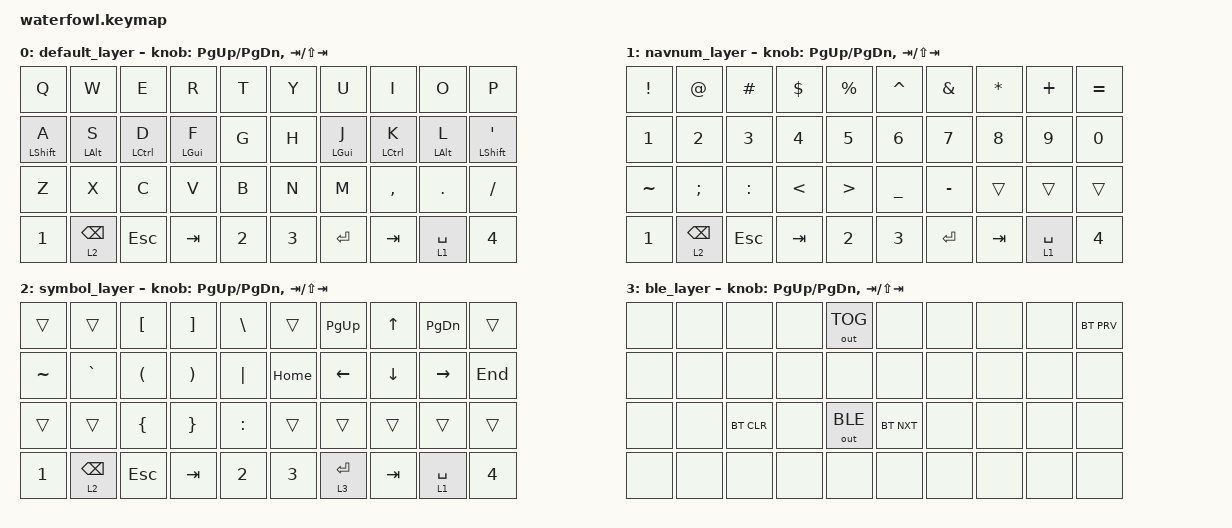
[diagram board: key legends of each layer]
/*
 * Copyright (c) 2022 The ZMK Contributors
 *
 * SPDX-License-Identifier: MIT
 */

#include <behaviors.dtsi>
#include <dt-bindings/zmk/keys.h>
#include <dt-bindings/zmk/bt.h>
#include <dt-bindings/zmk/outputs.h>


#define TAPPING_TERM 150
#define QUICK_TAP    100

&mt {
	flavor = "tap-preferred";
	tapping-term-ms = <TAPPING_TERM>;
	quick-tap-ms = <QUICK_TAP>;
	global-quick-tap;
};

/ {
	keymap {
		compatible = "zmk,keymap";

		default_layer {
/* QWERTY
 *
 * ,----------------------------------.                      ,----------------------------------.
 * |   Q  |   W  |   E  |   R  |   T  |                      |   Y  |   U  |   I  |   O  |   P  |
 * |------+------+------+------+------|                      |------+------+------+------+------|
 * |   A  |   S  |   D  |   F  |   G  |                      |   H  |   J  |   K  |   L  |   ;  |
 * |------+------+------+------+------|  ,-----.    ,-----.  |------+------+------+------+------|
 * |   Z  |   X  |   C  |   V  |   B  |  |  2  |    |  3  |  |   N  |   M  |   ,  |   .  |   /  |
 * `----------------------------------'  `-----'    `-----'  `----------------------------------'
 *          ,-----.   ,--------------------.            ,--------------------.   ,-----. 
 *          |  1  |   | DEL | SPACE | TAB  |            |  ESC  | BS | ENTER |   |  4  |	
 *          `-----'   `--------------------'            `--------------------'   `-----'
 */
			bindings = <
	&kp Q		&kp W		&kp E		&kp R		&kp T			&kp Y	&kp U		&kp I		&kp O		&kp P
	&mt LSHFT A	&mt LALT S	&mt LCTRL D	&mt LGUI F	&kp G			&kp H	&mt LGUI J	&mt LCTRL K	&mt LALT L	&mt LSHFT APOS
	&kp Z		&kp X		&kp C		&kp V		&kp B			&kp N	&kp M		&kp COMMA	&kp DOT		&kp FSLH
	&kp N1		&lt 2 BSPC	&kp ESC		&kp TAB		&kp N2			&kp N3	&kp RET		&kp TAB 	&lt 1 SPACE	&kp N4
			>;

			sensor-bindings = <&inc_dec_kp PAGE_UP PAGE_DOWN &inc_dec_kp TAB LS(TAB)>;
		};

		navnum_layer {
/* NAVNUM
 *
 * ,----------------------------------.                      ,----------------------------------.
 * |      | PgUp |  UP  | PgDn |      |                      |   /  |   7  |   8  |   9  |   -  |
 * |------+------+------+------+------|                      |------+------+------+------+------|
 * | Home | Left | Down | Right| End  |                      |   =  |   4  |   5  |   6  |   +  |
 * |------+------+------+------+------|  ,-----.    ,-----.  |------+------+------+------+------|
 * |      |      |  INS |      |      |  |  2  |    |  3  |  |   0  |   1  |   2  |   3  |   *  |
 * `----------------------------------'  `-----'    `-----'  `----------------------------------'
 *          ,-----.   ,--------------------.            ,--------------------.   ,-----. 
 *          |  1  |   | DEL | SPACE | MO(3)|            |  ESC  | BS | ENTER |   |  4  |
 *          `-----'   `--------------------'            `--------------------'   `-----'
 */
			bindings = <
	&kp EXCL	&kp AT		&kp HASH	&kp DLLR	&kp PRCNT				&kp CARET 	&kp AMPS 	&kp STAR	&kp PLUS	&kp EQUAL
	&kp N1	 	&kp N2		&kp N3		&kp N4		&kp N5					&kp N6		&kp N7		&kp N8		&kp N9		&kp N0
	&kp TILDE	&kp SEMI	&kp COLON	&kp LT		&kp GT					&kp UNDER	&kp MINUS	&trans		&trans		&trans
	&kp N1		&lt 2 BSPC	&kp ESC		&kp TAB		&kp N2			&kp N3	&kp RET		&kp TAB 	&lt 1 SPACE	&kp N4
			>;

			sensor-bindings = <&inc_dec_kp PAGE_UP PAGE_DOWN &inc_dec_kp TAB LS(TAB)>;
		};

		symbol_layer {
/* SYM
 *
 * ,----------------------------------.                      ,----------------------------------.
 * |   %  |   @  |   [  |   ]  |   \  |                      |      |      |   ^  |      |      |
 * |------+------+------+------+------|                      |------+------+------+------+------|
 * |   #  |   !  |   (  |   )  |   |  |                      |   _  |   '  |   "  |   ~  |   `  |
 * |------+------+------+------+------|  ,-----.    ,-----.  |------+------+------+------+------|
 * |   $  |      |   {  |   }  |   &  |  |  2  |    |  3  |  |      |      |      |      |      |
 * `----------------------------------'  `-----'    `-----'  `----------------------------------'
 *          ,-----.   ,--------------------.            ,--------------------.   ,-----. 
 *          |  1  |   | DEL | SPACE | TAB  |            |  ESC  | BS | ENTER |   |  4  |
 *          `-----'   `--------------------'            `--------------------'   `-----'
 */
			bindings = <
	&trans		&trans		&kp LBKT	&kp RBKT	&kp BSLH				&trans			&kp PG_UP		&kp UP		&kp PG_DN		&trans
	&kp TILDE	&kp GRAVE	&kp LPAR	&kp RPAR	&kp PIPE				&kp HOME		&kp LEFT		&kp DOWN	&kp RIGHT		&kp END
	&trans		&trans		&kp LBRC	&kp RBRC	&kp COLON				&trans			&trans			&trans		&trans			&trans
	&kp N1		&lt 2 BSPC	&kp ESC		&kp TAB		&kp N2			&kp N3	&lt 3 RET		&kp TAB 	&lt 1 SPACE	&kp N4
			>;

			sensor-bindings = <&inc_dec_kp PAGE_UP PAGE_DOWN &inc_dec_kp TAB LS(TAB)>;
		};

		ble_layer {
/* BLE 
 *
 * ,----------------------------------.                      ,----------------------------------.
 * |   %  |   @  |   [  |   ]  |   \  |                      |      |      |   ^  |      |      |
 * |------+------+------+------+------|                      |------+------+------+------+------|
 * |   #  |   !  |   (  |   )  |   |  |                      |   _  |   '  |   "  |   ~  |   `  |
 * |------+------+------+------+------|  ,-----.    ,-----.  |------+------+------+------+------|
 * |   $  |      |   {  |   }  |   &  |  |  2  |    |  3  |  |      |      |      |      |      |
 * `----------------------------------'  `-----'    `-----'  `----------------------------------'
 *          ,-----.   ,--------------------.            ,--------------------.   ,-----. 
 *          |  1  |   | DEL | SPACE | TAB  |            |  ESC  | BS | ENTER |   |  4  |
 *          `-----'   `--------------------'            `--------------------'   `-----'
 */
			bindings = <
	&none   	&none		&none	&none	&out OUT_TOG				&none			&none		&none		&none   &bt BT_PRV
	&none   	&none		&none	&none	&none				&none			&none		&none		&none		&none
	&none   	&none		&bt BT_CLR	&none	&out OUT_BLE				&bt BT_NXT	&none		&none		&none		&none
	&none   &none	&none		&none    &none			&none	&none   &none 	&none	&none
			>;

			sensor-bindings = <&inc_dec_kp PAGE_UP PAGE_DOWN &inc_dec_kp TAB LS(TAB)>;
		};
	};
};
